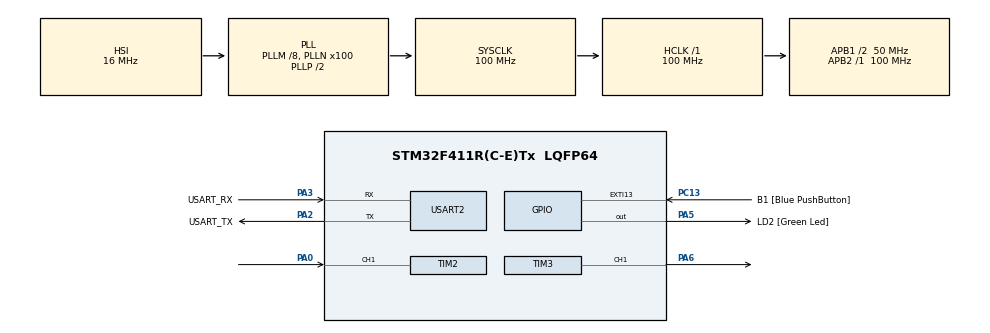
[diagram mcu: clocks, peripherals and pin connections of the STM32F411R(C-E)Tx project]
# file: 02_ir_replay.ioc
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Mcu.Family=STM32F4
Mcu.Name=STM32F411R(C-E)Tx
Mcu.Package=LQFP64
NVIC.EXTI15_10_IRQn=true\:2\:0\:true\:false\:true\:true\:true\:true
NVIC.PriorityGroup=NVIC_PRIORITYGROUP_4
NVIC.TIM2_IRQn=true\:1\:0\:true\:false\:true\:true\:true\:true
NVIC.TIM5_IRQn=true\:0\:0\:false\:false\:true\:true\:true\:true
PA0-WKUP.GPIO_PuPd=GPIO_PULLUP
PA0-WKUP.Signal=S_TIM2_CH1_ETR
PA13.GPIO_Label=TMS
PA13.Mode=Serial_Wire
PA13.Signal=SYS_JTMS-SWDIO
PA14.GPIO_Label=TCK
PA14.Mode=Serial_Wire
PA14.Signal=SYS_JTCK-SWCLK
PA2.GPIO_Label=USART_TX
PA2.Mode=Asynchronous
PA2.Signal=USART2_TX
PA3.GPIO_Label=USART_RX
PA3.Mode=Asynchronous
PA3.Signal=USART2_RX
PA5.GPIO_Label=LD2 [Green Led]
PA5.Signal=GPIO_Output
PA6.Signal=S_TIM3_CH1
PB3.GPIO_Label=SWO
PB3.Signal=SYS_JTDO-SWO
PC13-ANTI_TAMP.GPIO_Label=B1 [Blue PushButton]
PC13-ANTI_TAMP.GPIO_ModeDefaultEXTI=GPIO_MODE_IT_FALLING
PC13-ANTI_TAMP.Signal=GPXTI13
PC14-OSC32_IN.Mode=LSE-External-Oscillator
PC14-OSC32_IN.Signal=RCC_OSC32_IN
PC15-OSC32_OUT.Mode=LSE-External-Oscillator
PC15-OSC32_OUT.Signal=RCC_OSC32_OUT
PH0\ -\ OSC_IN.Mode=HSE-External-Clock-Source
PH0\ -\ OSC_IN.Signal=RCC_OSC_IN
PH1\ -\ OSC_OUT.Mode=HSE-External-Clock-Source
PH1\ -\ OSC_OUT.Signal=RCC_OSC_OUT
ProjectManager.HeapSize=0x200
ProjectManager.StackSize=0x400
ProjectManager.TargetToolchain=STM32CubeIDE
RCC.48MHZClocksFreq_Value=50000000
RCC.AHBFreq_Value=100000000
RCC.APB1CLKDivider=RCC_HCLK_DIV2
RCC.APB1Freq_Value=50000000
RCC.APB1TimFreq_Value=100000000
RCC.APB2Freq_Value=100000000
RCC.APB2TimFreq_Value=100000000
RCC.CortexFreq_Value=100000000
RCC.FLatency-AdvancedSettings=FLASH_LATENCY_3
RCC.HCLKFreq_Value=100000000
RCC.HSE_VALUE=8000000
RCC.HSI_VALUE=16000000
RCC.PLLM=8
RCC.PLLN=100
RCC.SYSCLKFreq_VALUE=100000000
RCC.SYSCLKSource=RCC_SYSCLKSOURCE_PLLCLK
RCC.VCOOutputFreq_Value=200000000
SH.S_TIM2_CH1_ETR.0=TIM2_CH1,Input_Capture1_from_TI1
SH.S_TIM3_CH1.0=TIM3_CH1,PWM Generation1 CH1
TIM2.Channel-Input_Capture1_from_TI1=TIM_CHANNEL_1
TIM2.ICPolarity_CH1=TIM_INPUTCHANNELPOLARITY_BOTHEDGE
TIM2.Prescaler=99
TIM3.Channel-PWM\ Generation1\ CH1=TIM_CHANNEL_1
TIM3.Period=2631
TIM5.Prescaler=99
USART2.VirtualMode=VM_ASYNC
VP_TIM2_VS_ClockSourceINT.Mode=Internal
VP_TIM3_VS_ClockSourceINT.Mode=Internal
VP_TIM5_VS_ClockSourceINT.Mode=Internal
board=NUCLEO-F411RE

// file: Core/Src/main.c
/* USER CODE BEGIN Header */
/**
  ******************************************************************************
  * @file           : main.c
  * @brief          : Main program body
  ******************************************************************************
  * @attention
  *
  * Copyright (c) 2026 STMicroelectronics.
  * All rights reserved.
  *
  * This software is licensed under terms that can be found in the LICENSE file
  * in the root directory of this software component.
  * If no LICENSE file comes with this software, it is provided AS-IS.
  *
  ******************************************************************************
  */
/* USER CODE END Header */
#include "main.h"

/* USER CODE BEGIN Includes */
#include <stdio.h>
#include <string.h>
/* USER CODE END Includes */

/* USER CODE BEGIN PD */
#define IR_MAX_EDGES   1024
#define IR_END_GAP_US  80000u   // 80 ms of silence = end of signal
#define CARRIER_ON     877      // 33% of ARR 2631 -> 38 kHz pulses
/* USER CODE END PD */

TIM_HandleTypeDef htim2;
TIM_HandleTypeDef htim3;
TIM_HandleTypeDef htim5;

UART_HandleTypeDef huart2;

/* USER CODE BEGIN PV */
// --- receiver (capture) ---
volatile uint32_t ir_buf[IR_MAX_EDGES];
volatile uint16_t ir_count     = 0;
volatile uint32_t ir_last_edge = 0;
volatile uint8_t  ir_started   = 0;
volatile uint8_t  ir_overflow  = 0;
volatile uint8_t  ir_from_tx   = 0;   // capture started while we were sending = loopback

// --- saved code + transmitter ---
uint32_t          saved_buf[IR_MAX_EDGES];
volatile uint16_t saved_count  = 0;
volatile uint16_t tx_index     = 0;
volatile uint8_t  tx_busy      = 0;
volatile uint8_t  tx_request   = 0;
volatile uint32_t last_press   = 0;
char msg[96];
/* USER CODE END PV */

void SystemClock_Config(void);
static void MX_GPIO_Init(void);
static void MX_USART2_UART_Init(void);
static void MX_TIM2_Init(void);
static void MX_TIM3_Init(void);
static void MX_TIM5_Init(void);

/* USER CODE BEGIN 0 */
static void uart_print(const char *s)
{
  HAL_UART_Transmit(&huart2, (uint8_t *)s, strlen(s), HAL_MAX_DELAY);
}

static void carrier(uint8_t on)
{
  __HAL_TIM_SET_COMPARE(&htim3, TIM_CHANNEL_1, on ? CARRIER_ON : 0);
}

// Start sending saved_buf: [0]=mark, [1]=space, [2]=mark ...
static void ir_send_saved(void)
{
  if (saved_count == 0 || tx_busy) return;
  tx_busy  = 1;
  tx_index = 0;
  carrier(1);                                         // first segment is a mark
  __HAL_TIM_SET_AUTORELOAD(&htim5, saved_buf[0] - 1);
  __HAL_TIM_SET_COUNTER(&htim5, 0);
  __HAL_TIM_CLEAR_FLAG(&htim5, TIM_FLAG_UPDATE);      // avoid an instant false "segment done"
  HAL_TIM_Base_Start_IT(&htim5);
}

// TIM5: current mark/space is over -> move to the next one
void HAL_TIM_PeriodElapsedCallback(TIM_HandleTypeDef *htim)
{
  if (htim->Instance == TIM5)
  {
    tx_index++;
    if (tx_index >= saved_count) {                    // all done
      carrier(0);
      HAL_TIM_Base_Stop_IT(&htim5);
      tx_busy = 0;
    } else {
      carrier((tx_index % 2) == 0);                   // even index = mark, odd = space
      __HAL_TIM_SET_AUTORELOAD(&htim5, saved_buf[tx_index] - 1);
    }
  }
}

// TIM2: an edge from the IR receiver (same as step 1, plus loopback flag)
void HAL_TIM_IC_CaptureCallback(TIM_HandleTypeDef *htim)
{
  if (htim->Instance == TIM2 && htim->Channel == HAL_TIM_ACTIVE_CHANNEL_1)
  {
    uint32_t now = HAL_TIM_ReadCapturedValue(htim, TIM_CHANNEL_1);
    if (!ir_started) {
      ir_started = 1;
      ir_from_tx = tx_busy;                           // did this start during our own transmission?
    } else if (ir_count < IR_MAX_EDGES) {
      ir_buf[ir_count++] = now - ir_last_edge;
    } else {
      ir_overflow = 1;
    }
    ir_last_edge = now;
  }
}

// B1 blue button -> request a replay (with simple debounce)
void HAL_GPIO_EXTI_Callback(uint16_t GPIO_Pin)
{
  if (GPIO_Pin == B1_Pin) {
    uint32_t now = HAL_GetTick();
    if (now - last_press > 300) {
      last_press = now;
      tx_request = 1;
    }
  }
}
/* USER CODE END 0 */

int main(void)
{

  /* MCU Configuration--------------------------------------------------------*/

  /* Reset of all peripherals, Initializes the Flash interface and the Systick. */
  HAL_Init();

  /* Configure the system clock */
  SystemClock_Config();

  /* Initialize all configured peripherals */
  MX_GPIO_Init();
  MX_USART2_UART_Init();
  MX_TIM2_Init();
  MX_TIM3_Init();
  MX_TIM5_Init();
  /* USER CODE BEGIN 2 */
  uart_print("\r\n=== IR replay test ===\r\n");
    uart_print("1) Tap a remote button at the KY-022 to save it\r\n");
    uart_print("2) Press the blue B1 button to replay it\r\n");
    HAL_TIM_PWM_Start(&htim3, TIM_CHANNEL_1);   // carrier timer runs; CCR=0 keeps LED off
    HAL_TIM_IC_Start_IT(&htim2, TIM_CHANNEL_1);
  /* USER CODE END 2 */

  /* Infinite loop */
  while (1)
  {

    /* USER CODE BEGIN 3 */
	  // --- B1 pressed: send the saved code ---
	      if (tx_request)
	      {
	        tx_request = 0;
	        if (saved_count == 0) {
	          uart_print("Nothing saved yet - tap a remote at the receiver first.\r\n");
	        } else {
	          sprintf(msg, "Sending %u durations...\r\n", saved_count);
	          uart_print(msg);
	          ir_send_saved();
	        }
	      }

	      // --- a received signal has finished ---
	      if (ir_started)
	      {
	        __disable_irq();
	        uint32_t last = ir_last_edge;
	        uint32_t now  = __HAL_TIM_GET_COUNTER(&htim2);
	        __enable_irq();

	        if (now - last > IR_END_GAP_US)
	        {
	          HAL_TIM_IC_Stop_IT(&htim2, TIM_CHANNEL_1);

	          uint32_t total = 0;
	          for (uint16_t i = 0; i < ir_count; i++) total += ir_buf[i];

	          if (ir_from_tx) {
	            // We heard our own transmission
	            sprintf(msg, "Loopback: received %u of %u durations, %lu us -> %s\r\n",
	                    ir_count, saved_count, total,
	                    (ir_count == saved_count) ? "MATCH" : "DIFFERENT");
	          } else if (!tx_busy) {
	            // A real remote: save it for replay
	            for (uint16_t i = 0; i < ir_count; i++) saved_buf[i] = ir_buf[i];
	            saved_count = ir_count;
	            sprintf(msg, "Saved: %u durations, %lu us%s. Press B1 to replay.\r\n",
	                    ir_count, total, ir_overflow ? " (BUFFER FULL!)" : "");
	          }
	          uart_print(msg);
	          HAL_GPIO_TogglePin(LD2_GPIO_Port, LD2_Pin);

	          ir_count = 0; ir_started = 0; ir_overflow = 0; ir_from_tx = 0;
	          HAL_TIM_IC_Start_IT(&htim2, TIM_CHANNEL_1);
	        }
	      }
	    }   // <-- closes while (1). Keep this brace!
  /* USER CODE END 3 */
}

void SystemClock_Config(void)
{
  RCC_OscInitTypeDef RCC_OscInitStruct = {0};
  RCC_ClkInitTypeDef RCC_ClkInitStruct = {0};

  /** Configure the main internal regulator output voltage
  */
  __HAL_RCC_PWR_CLK_ENABLE();
  __HAL_PWR_VOLTAGESCALING_CONFIG(PWR_REGULATOR_VOLTAGE_SCALE1);

  /** Initializes the RCC Oscillators according to the specified parameters
  * in the RCC_OscInitTypeDef structure.
  */
  RCC_OscInitStruct.OscillatorType = RCC_OSCILLATORTYPE_HSI;
  RCC_OscInitStruct.HSIState = RCC_HSI_ON;
  RCC_OscInitStruct.HSICalibrationValue = RCC_HSICALIBRATION_DEFAULT;
  RCC_OscInitStruct.PLL.PLLState = RCC_PLL_ON;
  RCC_OscInitStruct.PLL.PLLSource = RCC_PLLSOURCE_HSI;
  RCC_OscInitStruct.PLL.PLLM = 8;
  RCC_OscInitStruct.PLL.PLLN = 100;
  RCC_OscInitStruct.PLL.PLLP = RCC_PLLP_DIV2;
  RCC_OscInitStruct.PLL.PLLQ = 4;
  if (HAL_RCC_OscConfig(&RCC_OscInitStruct) != HAL_OK)
  {
    Error_Handler();
  }

  /** Initializes the CPU, AHB and APB buses clocks
  */
  RCC_ClkInitStruct.ClockType = RCC_CLOCKTYPE_HCLK|RCC_CLOCKTYPE_SYSCLK
                              |RCC_CLOCKTYPE_PCLK1|RCC_CLOCKTYPE_PCLK2;
  RCC_ClkInitStruct.SYSCLKSource = RCC_SYSCLKSOURCE_PLLCLK;
  RCC_ClkInitStruct.AHBCLKDivider = RCC_SYSCLK_DIV1;
  RCC_ClkInitStruct.APB1CLKDivider = RCC_HCLK_DIV2;
  RCC_ClkInitStruct.APB2CLKDivider = RCC_HCLK_DIV1;

  if (HAL_RCC_ClockConfig(&RCC_ClkInitStruct, FLASH_LATENCY_3) != HAL_OK)
  {
    Error_Handler();
  }
}

static void MX_TIM2_Init(void)
{

  TIM_ClockConfigTypeDef sClockSourceConfig = {0};
  TIM_MasterConfigTypeDef sMasterConfig = {0};
  TIM_IC_InitTypeDef sConfigIC = {0};

  htim2.Instance = TIM2;
  htim2.Init.Prescaler = 99;
  htim2.Init.CounterMode = TIM_COUNTERMODE_UP;
  htim2.Init.Period = 4294967295;
  htim2.Init.ClockDivision = TIM_CLOCKDIVISION_DIV1;
  htim2.Init.AutoReloadPreload = TIM_AUTORELOAD_PRELOAD_DISABLE;
  if (HAL_TIM_Base_Init(&htim2) != HAL_OK)
  {
    Error_Handler();
  }
  sClockSourceConfig.ClockSource = TIM_CLOCKSOURCE_INTERNAL;
  if (HAL_TIM_ConfigClockSource(&htim2, &sClockSourceConfig) != HAL_OK)
  {
    Error_Handler();
  }
  if (HAL_TIM_IC_Init(&htim2) != HAL_OK)
  {
    Error_Handler();
  }
  sMasterConfig.MasterOutputTrigger = TIM_TRGO_RESET;
  sMasterConfig.MasterSlaveMode = TIM_MASTERSLAVEMODE_DISABLE;
  if (HAL_TIMEx_MasterConfigSynchronization(&htim2, &sMasterConfig) != HAL_OK)
  {
    Error_Handler();
  }
  sConfigIC.ICPolarity = TIM_INPUTCHANNELPOLARITY_BOTHEDGE;
  sConfigIC.ICSelection = TIM_ICSELECTION_DIRECTTI;
  sConfigIC.ICPrescaler = TIM_ICPSC_DIV1;
  sConfigIC.ICFilter = 0;
  if (HAL_TIM_IC_ConfigChannel(&htim2, &sConfigIC, TIM_CHANNEL_1) != HAL_OK)
  {
    Error_Handler();
  }

}

static void MX_TIM3_Init(void)
{

  TIM_ClockConfigTypeDef sClockSourceConfig = {0};
  TIM_MasterConfigTypeDef sMasterConfig = {0};
  TIM_OC_InitTypeDef sConfigOC = {0};

  htim3.Instance = TIM3;
  htim3.Init.Prescaler = 0;
  htim3.Init.CounterMode = TIM_COUNTERMODE_UP;
  htim3.Init.Period = 2631;
  htim3.Init.ClockDivision = TIM_CLOCKDIVISION_DIV1;
  htim3.Init.AutoReloadPreload = TIM_AUTORELOAD_PRELOAD_DISABLE;
  if (HAL_TIM_Base_Init(&htim3) != HAL_OK)
  {
    Error_Handler();
  }
  sClockSourceConfig.ClockSource = TIM_CLOCKSOURCE_INTERNAL;
  if (HAL_TIM_ConfigClockSource(&htim3, &sClockSourceConfig) != HAL_OK)
  {
    Error_Handler();
  }
  if (HAL_TIM_PWM_Init(&htim3) != HAL_OK)
  {
    Error_Handler();
  }
  sMasterConfig.MasterOutputTrigger = TIM_TRGO_RESET;
  sMasterConfig.MasterSlaveMode = TIM_MASTERSLAVEMODE_DISABLE;
  if (HAL_TIMEx_MasterConfigSynchronization(&htim3, &sMasterConfig) != HAL_OK)
  {
    Error_Handler();
  }
  sConfigOC.OCMode = TIM_OCMODE_PWM1;
  sConfigOC.Pulse = 0;
  sConfigOC.OCPolarity = TIM_OCPOLARITY_HIGH;
  sConfigOC.OCFastMode = TIM_OCFAST_DISABLE;
  if (HAL_TIM_PWM_ConfigChannel(&htim3, &sConfigOC, TIM_CHANNEL_1) != HAL_OK)
  {
    Error_Handler();
  }
  HAL_TIM_MspPostInit(&htim3);

}

static void MX_TIM5_Init(void)
{

  TIM_ClockConfigTypeDef sClockSourceConfig = {0};
  TIM_MasterConfigTypeDef sMasterConfig = {0};

  htim5.Instance = TIM5;
  htim5.Init.Prescaler = 99;
  htim5.Init.CounterMode = TIM_COUNTERMODE_UP;
  htim5.Init.Period = 4294967295;
  htim5.Init.ClockDivision = TIM_CLOCKDIVISION_DIV1;
  htim5.Init.AutoReloadPreload = TIM_AUTORELOAD_PRELOAD_DISABLE;
  if (HAL_TIM_Base_Init(&htim5) != HAL_OK)
  {
    Error_Handler();
  }
  sClockSourceConfig.ClockSource = TIM_CLOCKSOURCE_INTERNAL;
  if (HAL_TIM_ConfigClockSource(&htim5, &sClockSourceConfig) != HAL_OK)
  {
    Error_Handler();
  }
  sMasterConfig.MasterOutputTrigger = TIM_TRGO_RESET;
  sMasterConfig.MasterSlaveMode = TIM_MASTERSLAVEMODE_DISABLE;
  if (HAL_TIMEx_MasterConfigSynchronization(&htim5, &sMasterConfig) != HAL_OK)
  {
    Error_Handler();
  }

}

static void MX_USART2_UART_Init(void)
{

  huart2.Instance = USART2;
  huart2.Init.BaudRate = 115200;
  huart2.Init.WordLength = UART_WORDLENGTH_8B;
  huart2.Init.StopBits = UART_STOPBITS_1;
  huart2.Init.Parity = UART_PARITY_NONE;
  huart2.Init.Mode = UART_MODE_TX_RX;
  huart2.Init.HwFlowCtl = UART_HWCONTROL_NONE;
  huart2.Init.OverSampling = UART_OVERSAMPLING_16;
  if (HAL_UART_Init(&huart2) != HAL_OK)
  {
    Error_Handler();
  }

}

static void MX_GPIO_Init(void)
{
  GPIO_InitTypeDef GPIO_InitStruct = {0};

  /* GPIO Ports Clock Enable */
  __HAL_RCC_GPIOC_CLK_ENABLE();
  __HAL_RCC_GPIOH_CLK_ENABLE();
  __HAL_RCC_GPIOA_CLK_ENABLE();
  __HAL_RCC_GPIOB_CLK_ENABLE();

  /*Configure GPIO pin Output Level */
  HAL_GPIO_WritePin(LD2_GPIO_Port, LD2_Pin, GPIO_PIN_RESET);

  /*Configure GPIO pin : B1_Pin */
  GPIO_InitStruct.Pin = B1_Pin;
  GPIO_InitStruct.Mode = GPIO_MODE_IT_FALLING;
  GPIO_InitStruct.Pull = GPIO_NOPULL;
  HAL_GPIO_Init(B1_GPIO_Port, &GPIO_InitStruct);

  /*Configure GPIO pin : LD2_Pin */
  GPIO_InitStruct.Pin = LD2_Pin;
  GPIO_InitStruct.Mode = GPIO_MODE_OUTPUT_PP;
  GPIO_InitStruct.Pull = GPIO_NOPULL;
  GPIO_InitStruct.Speed = GPIO_SPEED_FREQ_LOW;
  HAL_GPIO_Init(LD2_GPIO_Port, &GPIO_InitStruct);

  /* EXTI interrupt init*/
  HAL_NVIC_SetPriority(EXTI15_10_IRQn, 2, 0);
  HAL_NVIC_EnableIRQ(EXTI15_10_IRQn);

}

void Error_Handler(void)
{
  __disable_irq();
  while (1)
  {
  }
}
